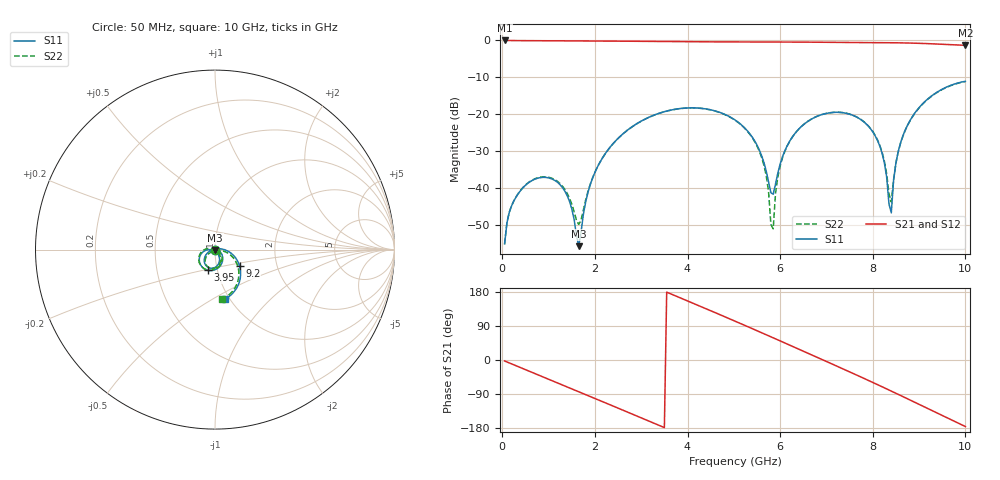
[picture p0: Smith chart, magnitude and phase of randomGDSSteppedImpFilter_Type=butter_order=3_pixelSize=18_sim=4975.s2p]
! freq	dB(S11)	phase(S11)	dB(S12)	phase(S12)
!  dB(S21)	phase(S21)	dB(S22)	phase(S22)
!S-par simulation data
#  GHz  S  DB  R 50
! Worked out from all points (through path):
!   200 points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, 50 MHz to 10 GHz, reference 50 ohm
!   highest |S21| = -0.02 dB at 50 MHz (marker M1); lowest = -1.3 dB at 10 GHz (marker M2)
!   group delay of S21, straight-line fit = 148 ps
!   lowest |S11| = -55.6 dB at 1.65 GHz (marker M3), VSWR 1.00, Z = 50 - j0.161 ohm
!   |S11| at or under -10 dB: start of sweep to end of sweep
!   |S22| runs from -55.0 to -11.1 dB; largest |S21 - S12| = 0
!   S11 on the Smith chart (normalised r, x): 50 MHz: 1.00, -0.00; 3.95 GHz: 0.90, -0.21; 9.2 GHz: 1.29, -0.24; 10 GHz: 0.96, -0.57
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0.05  -55.01 -37.3  -0.02 -2.6  -0.02 -2.6  -55.05 -37.7
0.3  -42.29 -74.2  -0.06 -15.3  -0.06 -15.3  -42.24 -73.9
0.9  -37.02 -120.7  -0.10 -45.6  -0.10 -45.6  -36.88 -118.7
1.4  -41.92 -144.3  -0.13 -70.9  -0.13 -70.9  -41.32 -136.5
1.65  -55.63 -76.7  -0.14 -83.6  -0.14 -83.6  -49.75 -83.1
1.75  -47.11 -14.7  -0.15 -88.7  -0.15 -88.7  -45.84 -36.2
2.3  -29.30 -25.8  -0.18 -116.8  -0.18 -116.8  -29.34 -30.8
3.4  -19.64 -80.8  -0.30 -173.2  -0.30 -173.2  -19.67 -83.6
3.95  -18.29 -108.4  -0.36 158.5  -0.36 158.5  -18.32 -111.2
5.05  -21.72 -162.3  -0.40 101.3  -0.40 101.3  -21.79 -167.1
5.6  -31.16 -179.7  -0.40 72.0  -0.40 72.0  -31.64 165.4
5.85  -41.59 -103.2  -0.41 58.5  -0.41 58.5  -50.95 -48.2
6.05  -31.48 -57.6  -0.42 47.7  -0.42 47.7  -31.76 -42.2
6.7  -21.12 -80.0  -0.49 12.4  -0.49 12.4  -21.11 -75.4
7.9  -23.13 -144.0  -0.59 -53.6  -0.59 -53.6  -23.05 -137.5
8.2  -30.44 -163.9  -0.61 -70.5  -0.61 -70.5  -30.15 -147.9
8.35  -44.22 162.9  -0.62 -79.1  -0.62 -79.1  -41.44 -122.4
8.4  -46.63 52.6  -0.63 -82.0  -0.63 -82.0  -43.68 -55.5
8.5  -33.11 13.1  -0.65 -87.8  -0.65 -87.8  -33.20 -11.4
8.65  -25.81 0.1  -0.68 -96.5  -0.68 -96.5  -25.93 -10.9
9.2  -15.70 -33.5  -0.88 -128.8  -0.88 -128.8  -15.77 -37.7
10  -11.05 -78.3  -1.33 -175.6  -1.33 -175.6  -11.13 -81.4
